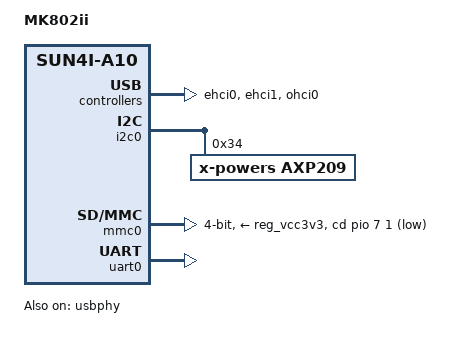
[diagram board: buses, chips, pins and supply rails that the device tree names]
/dts-v1/;
#include "sun4i-a10.dtsi"
#include "sunxi-common-regulators.dtsi"
#include <dt-bindings/gpio/gpio.h>
/ {
	model = "MK802ii";
	compatible = "allwinner,mk802ii", "allwinner,sun4i-a10";
	aliases {
		serial0 = &uart0;
	};
	chosen {
		stdout-path = "serial0:115200n8";
	};
};
&ehci0 {
	status = "okay";
};
&ehci1 {
	status = "okay";
};
&i2c0 {
	status = "okay";
	axp209: pmic@34 {
		compatible = "x-powers,axp209";
		reg = <0x34>;
		interrupts = <0>;
		interrupt-controller;
		#interrupt-cells = <1>;
	};
};
&mmc0 {
	vmmc-supply = <&reg_vcc3v3>;
	bus-width = <4>;
	cd-gpios = <&pio 7 1 GPIO_ACTIVE_LOW>;  
	status = "okay";
};
&ohci0 {
	status = "okay";
};
&reg_usb1_vbus {
	status = "okay";
};
&reg_usb2_vbus {
	status = "okay";
};
&uart0 {
	pinctrl-names = "default";
	pinctrl-0 = <&uart0_pb_pins>;
	status = "okay";
};
&usbphy {
	usb1_vbus-supply = <&reg_usb1_vbus>;
	usb2_vbus-supply = <&reg_usb2_vbus>;
	status = "okay";
};
